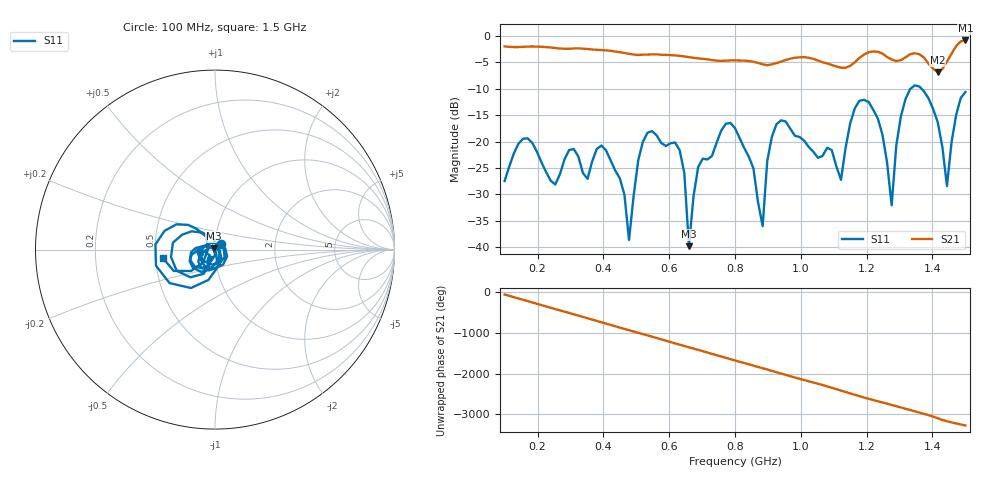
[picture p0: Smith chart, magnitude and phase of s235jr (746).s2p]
! NanoVNA-App
! Date: 2025-09-25 15:09:58
! Start: 100MHz Stop: 1,5GHz Points: 101
! S-Parameter data: F S11 S21 S12 S22
# Hz S RI R 50
!  Frequency  S11_Real  S11_Imag  S21_Real  S21_Imag  S12_Real  S12_Imag  S22_Real  S22_Imag
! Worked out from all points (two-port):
!   101 points, 100 MHz to 1.5 GHz, reference 50 ohm
!   highest |S21| = -0.83 dB at 1.5 GHz (marker M1); lowest = -6.8 dB at 1.416 GHz (marker M2)
!   |S21| within 3 dB of the highest: start of sweep to 642.8 MHz; 1.185 GHz to 1.259 GHz (74.44 MHz wide, 6.09 % of centre) (the widest 2 of 4)
!   lowest |S11| = -39.8 dB at 660 MHz (marker M3), VSWR 1.02, Z = 49.2 + j0.616 ohm
!   |S11| at or under -10 dB: start of sweep to 1.333 GHz; 1.367 GHz to end of sweep
!   S12 and S22 are empty: the file has one direction only
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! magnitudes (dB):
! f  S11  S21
! 100 MHz  -27.5  -2.0
! 156 MHz  -19.5  -2.0
! 338 MHz  -26.0  -2.4
! 408 MHz  -21.6  -2.7
! 478 MHz  -38.6  -3.4
! 520 MHz  -20.1  -3.5
! 576 MHz  -20.3  -3.6
! 632 MHz  -21.7  -3.7
! 660 MHz  -39.8  -4.0
! 688 MHz  -24.9  -4.2
! 800 MHz  -17.4  -4.6
! 884 MHz  -36.0  -5.3
! 926 MHz  -16.7  -5.1
! 1.038 GHz  -21.9  -4.3
! 1.122 GHz  -27.2  -6.0
! 1.164 GHz  -13.7  -5.0
! 1.206 GHz  -12.5  -3.1
! 1.276 GHz  -32.1  -4.5
! 1.332 GHz  -10.0  -3.5
! 1.416 GHz  -16.3  -6.8
! 1.444 GHz  -28.4  -4.8
! 1.5 GHz  -10.6  -0.8
